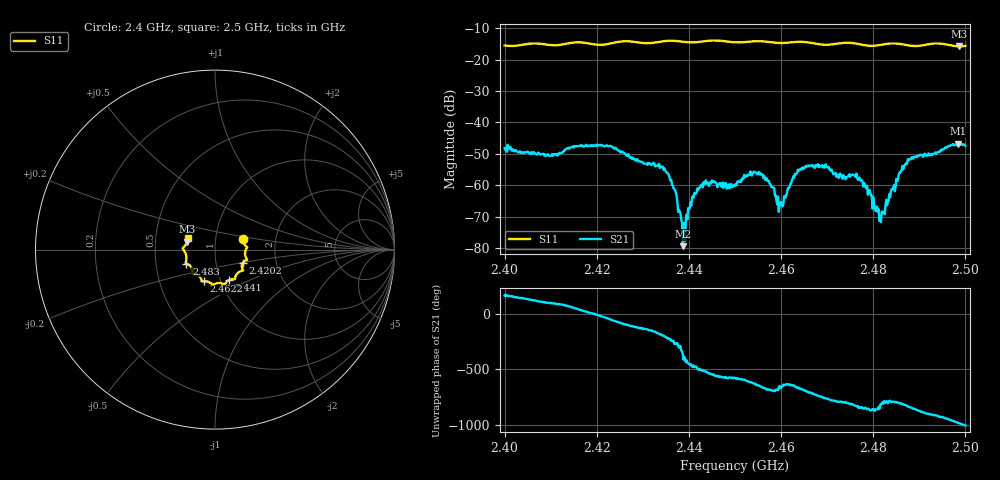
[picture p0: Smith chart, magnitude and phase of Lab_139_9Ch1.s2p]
# Hz S RI R 50
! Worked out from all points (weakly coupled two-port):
!   601 points, 2.4 GHz to 2.5 GHz, reference 50 ohm
!   highest |S21| = -46.75 dB at 2.4985 GHz (marker M1); lowest = -79.3 dB at 2.4387 GHz (marker M2)
!   lowest |S11| = -15.8 dB at 2.4987 GHz (marker M3), VSWR 1.39, Z = 36.4 + j3.32 ohm
!   |S11| at or under -10 dB: start of sweep to end of sweep
!   S12 and S22 are empty: the file has one direction only
!   S11 on the Smith chart (normalised r, x): 2.4 GHz: 1.36, +0.17; 2.4202 GHz: 1.35, -0.20; 2.441 GHz: 1.09, -0.39; 2.4622 GHz: 0.83, -0.30; 2.483 GHz: 0.72, -0.12; 2.5 GHz: 0.73, +0.09
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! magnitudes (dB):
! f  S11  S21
! 2.4 GHz  -15.5  -48.2
! 2.41 GHz  -15.4  -50.6
! 2.4167 GHz  -14.6  -47.2
! 2.4202 GHz  -15.3  -47.4
! 2.4333 GHz  -14.4  -53.6
! 2.4367 GHz  -14.1  -60.9
! 2.4387 GHz  -14.4  -79.3
! 2.441 GHz  -14.6  -63.9
! 2.4437 GHz  -14.1  -58.4
! 2.45 GHz  -14.5  -60.1
! 2.4555 GHz  -14.2  -56.6
! 2.46 GHz  -14.8  -65.2
! 2.4622 GHz  -14.5  -59.4
! 2.4667 GHz  -14.7  -53.8
! 2.4765 GHz  -15.0  -57.5
! 2.4815 GHz  -15.4  -71.0
! 2.483 GHz  -15.0  -66.3
! 2.4833 GHz  -15.0  -64.9
! 2.488 GHz  -15.6  -51.6
! 2.4985 GHz  -15.8  -46.8
! 2.4987 GHz  -15.8  -47.0
! 2.5 GHz  -15.6  -47.4
